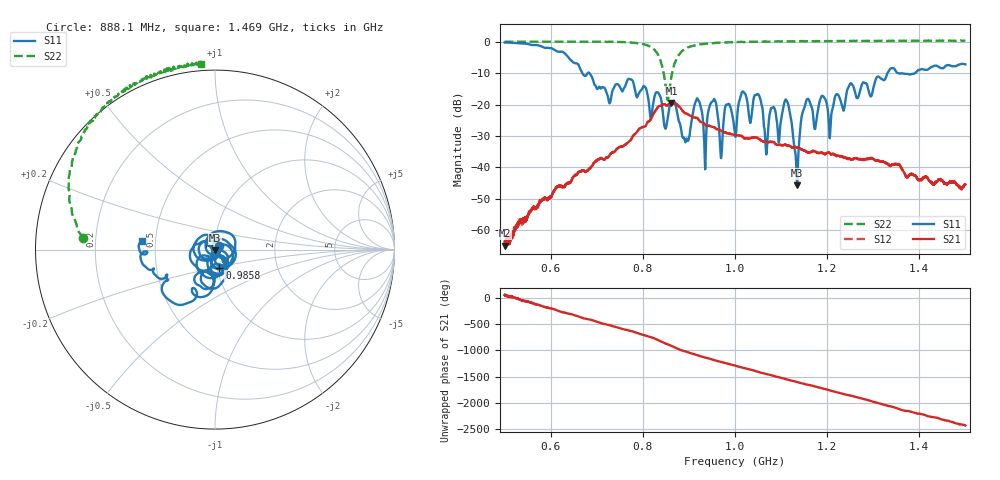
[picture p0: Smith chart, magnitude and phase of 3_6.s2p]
!Keysight Technologies,N5242B,MY48420860,A.13.80.08
!Date: Saturday, September 26, 2020 13:22:18
!Correction: S11(Full 2 Port(1,2))
!S21(Full 2 Port(1,2))
!S12(Full 2 Port(1,2))
!S22(Full 2 Port(1,2))
!S2P File: Measurements: S11, S21, S12, S22:
# Hz S  dB  R 50
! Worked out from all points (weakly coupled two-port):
!   2650 points, 500 MHz to 1.5 GHz, reference 50 ohm
!   highest |S21| = -19.48 dB at 862 MHz (marker M1); lowest = -65.0 dB at 500.8 MHz (marker M2)
!   lowest |S11| = -45.7 dB at 1.135 GHz (marker M3), VSWR 1.01, Z = 49.8 - j0.479 ohm
!   |S11| at or under -10 dB: 668.7 MHz to 680.1 MHz (11.43 MHz wide, 1.7 % of centre); 684.1 MHz to 1.331 GHz (646.8 MHz wide, 64.2 % of centre); 1.354 GHz to 1.391 GHz (36.82 MHz wide, 2.68 % of centre)
!   |S22| runs from -18.6 to 0.4 dB; largest |S21 - S12| = 0.00048
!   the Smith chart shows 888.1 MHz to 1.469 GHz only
!   S11 on the Smith chart (normalised r, x): 888.1 MHz: 1.04, +0.04; 985.8 MHz: 1.03, -0.21; 1.469 GHz: 0.42, +0.05
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5e8  -0.24 -166.2  -63.61 49.0  -65.11 47.2  -0.01 147.5
5.00755e8  -0.25 -166.6  -65.00 62.5  -64.44 46.2  -0.00 147.5
6.038128e8  -2.21 126.7  -48.45 153.8  -48.52 152.5  0.03 139.6
6.668554e8  -9.46 76.1  -41.07 -14.2  -41.12 -14.1  0.03 133.1
8.337108e8  -16.31 5.6  -20.62 -86.4  -20.63 -86.4  -4.29 64.7
8.620234e8  -19.01 -17.2  -19.48 166.4  -19.50 166.2  -11.04 -134.5
8.88071e8  -30.65 45.3  -22.28 70.6  -22.29 70.5  -2.66 175.0
9.356361e8  -39.56 15.0  -26.49 -57.9  -26.51 -57.8  -0.64 149.0
9.533786e8  -18.53 -47.6  -27.15 -99.4  -27.18 -99.4  -0.42 144.5
9.699887e8  -36.99 -57.8  -28.29 -141.2  -28.35 -141.4  -0.30 141.2
9.858437e8  -19.76 -76.2  -29.20 -176.1  -29.20 -176.2  -0.18 138.4
1.000189e9  -29.48 -91.9  -29.68 151.0  -29.69 151.0  -0.10 136.1
1.017176e9  -15.82 -103.6  -30.29 108.2  -30.32 108.1  -0.06 134.0
1.052284e9  -17.12 -173.0  -30.93 26.2  -30.96 26.4  0.01 129.4
1.067384e9  -35.15 174.0  -31.93 -5.5  -31.90 -5.8  0.07 128.0
1.111552e9  -18.66 161.8  -33.00 -108.1  -33.04 -108.2  0.12 123.7
1.134957e9  -45.67 -112.7  -33.79 -162.5  -33.75 -162.3  0.18 121.7
1.149679e9  -21.39 23.8  -34.62 164.5  -34.62 164.1  0.18 120.5
1.166667e9  -20.92 -76.4  -34.88 131.6  -34.93 131.4  0.18 119.0
1.333522e9  -9.37 -118.0  -39.10 102.0  -39.14 102.5  0.34 105.0
1.469045e9  -7.72 173.5  -44.84 164.4  -44.59 164.0  0.31 94.4
1.5e9  -7.19 162.9  -45.42 92.9  -45.64 94.0  0.29 91.4
